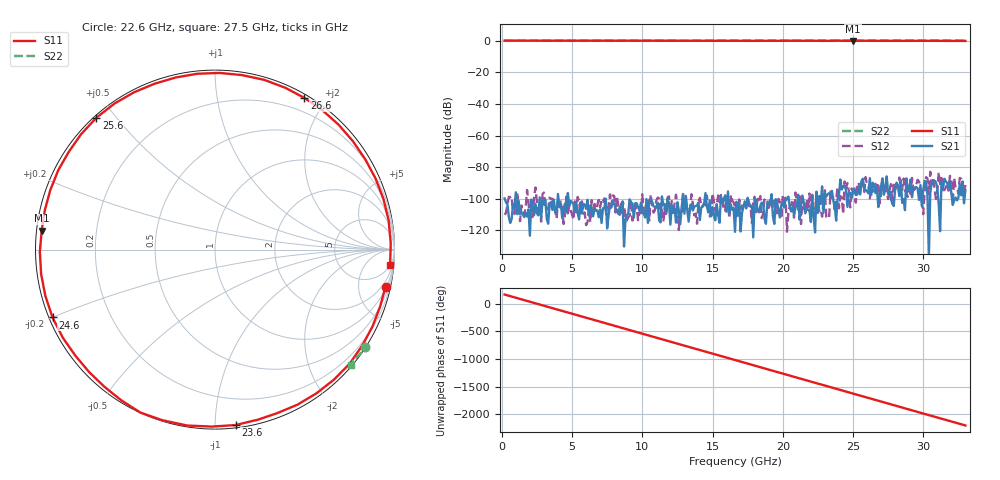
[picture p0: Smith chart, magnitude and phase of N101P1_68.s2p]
# GHZ S RI R 50
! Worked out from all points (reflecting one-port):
!   329 points, 200 MHz to 33 GHz, reference 50 ohm
!   lowest |S11| = -0.3 dB at 25 GHz (marker M1), VSWR 69.34, Z = 0.723 + j2.71 ohm
!   phase of S11 starts at 165 deg and turns -2367 deg over the sweep
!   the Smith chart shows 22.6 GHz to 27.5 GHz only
!   S11 on the Smith chart (normalised r, x): 22.6 GHz: 1.21, -9.14; 23.6 GHz: 0.02, -1.12; 24.6 GHz: 0.01, -0.20; 25.6 GHz: 0.01, +0.45; 26.6 GHz: 0.04, +1.75; 27.5 GHz: 5, -21
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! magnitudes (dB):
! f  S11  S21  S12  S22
! 200 MHz  0.0  -99.7  -110.2  0.0
! 5.7 GHz  -0.1  -109.1  -101.5  0.0
! 11.2 GHz  -0.1  -113.6  -99.7  0.0
! 16.6 GHz  -0.1  -120.9  -105.0  0.0
! 17.5 GHz  -0.2  -99.4  -100.5  -0.1
! 22.1 GHz  -0.1  -98.1  -97.5  0.0
! 22.6 GHz  -0.2  -98.2  -107.8  0.0
! 23.6 GHz  -0.1  -101.1  -99.1  0.0
! 24 GHz  0.0  -97.4  -106.0  0.1
! 24.3 GHz  -0.2  -92.0  -109.6  0.0
! 24.6 GHz  -0.2  -105.1  -90.0  0.0
! 25 GHz  -0.3  -94.5  -95.4  -0.1
! 25.6 GHz  -0.1  -88.9  -89.8  -0.1
! 26.6 GHz  -0.2  -96.4  -90.5  -0.1
! 27.5 GHz  -0.2  -96.9  -100.2  -0.1
! 27.6 GHz  -0.2  -95.1  -94.9  -0.1
! 28.7 GHz  -0.2  -107.2  -95.1  -0.1
! 29.2 GHz  -0.2  -99.0  -86.8  0.0
! 31.2 GHz  -0.1  -120.5  -90.7  0.0
! 31.7 GHz  -0.2  -90.1  -90.3  -0.1
! 32 GHz  -0.2  -96.6  -88.3  0.0
! 33 GHz  -0.2  -94.5  -91.3  -0.1
